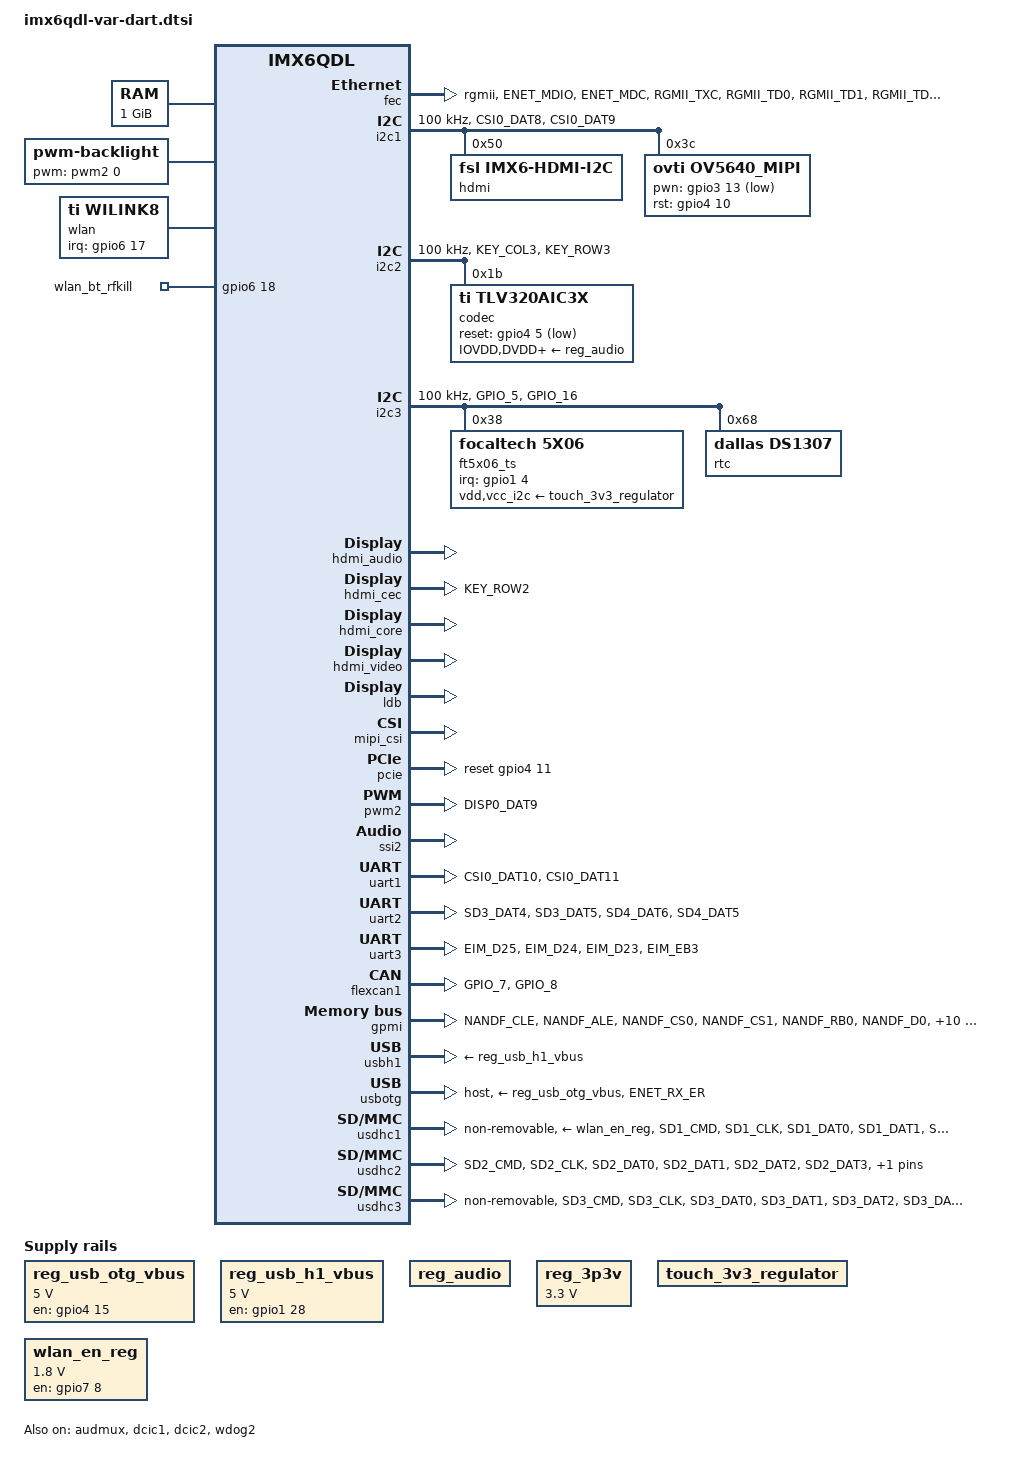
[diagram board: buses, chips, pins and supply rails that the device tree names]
/*
 * Copyright (C) 2014 Variscite, Ltd. All Rights Reserved
 * Donio Ron: ron.d@variscite.com
 *
 * Copyright 2012 Freescale Semiconductor, Inc.
 * Copyright 2011 Linaro Ltd.
 *
 * The code contained herein is licensed under the GNU General Public
 * License. You may obtain a copy of the GNU General Public License
 * Version 2 or later at the following locations:
 *
 * http://www.opensource.org/licenses/gpl-license.html
 * http://www.gnu.org/copyleft/gpl.html
 *
 */

#include <dt-bindings/input/input.h>

/ {
	aliases {
		mxcfb0 = &mxcfb1;
		mxcfb1 = &mxcfb2;
		mxcfb2 = &mxcfb3;
		mxcfb3 = &mxcfb4;
	};

	memory {
		reg = <0x10000000 0x40000000>;
	};

	regulators {
		compatible = "simple-bus";
		#address-cells = <1>;
		#size-cells = <0>;

		reg_usb_otg_vbus: regulator@0 {
			compatible = "regulator-fixed";
			reg = <0>;
			regulator-name = "usb_otg_vbus";
			regulator-min-microvolt = <5000000>;
			regulator-max-microvolt = <5000000>;
			gpio = <&gpio4 15 0>;
			enable-active-high;
		};

		reg_usb_h1_vbus: regulator@1 {
			compatible = "regulator-fixed";
			reg = <1>;
			regulator-name = "usb_h1_vbus";
			regulator-min-microvolt = <5000000>;
			regulator-max-microvolt = <5000000>;
			gpio = <&gpio1 28 0>;
			enable-active-high;
		};

		reg_audio: regulator@2 {
			compatible = "regulator-fixed";
			reg = <2>;
			regulator-name = "tlv320aic3x-supply";
			enable-active-high;
		};

		reg_3p3v: regulator@3 {
			compatible = "regulator-fixed";
			regulator-name = "3P3V";
			regulator-min-microvolt = <3300000>;
			regulator-max-microvolt = <3300000>;
			regulator-always-on;
		};

		touch_3v3_regulator: touch_3v3_regulator {
			compatible = "regulator-fixed";
			regulator-name = "touch_3v3_supply";
			regulator-always-on;
			status = "okay";
		};

	};

	wlcore {
		compatible = "wlcore";
		gpio = <177>;   /* The wl8 driver expects gpio to be an integer, so gpio6_17 is (6-1)*32+17=207
		        	   irq property must not be set as driver derives irq number from gpio if no irq set
	 			   use edge irqs for suspend/resume */
		platform-quirks = <1>;
		/* if a 12xx card is there, configure the clock to WL12XX_REFCLOCK_38_XTAL */
		board-ref-clock = <4>;
	};

	wlan_en_reg: fixedregulator@2 {
		compatible = "regulator-fixed";
		regulator-name = "wlan-en-regulator";
		regulator-min-microvolt = <1800000>;
		regulator-max-microvolt = <1800000>;

		/* WLAN_EN GPIO for this board - Bank5, pin13 */
		gpio = <&gpio7 8 0>;

		/* WLAN card specific delay */
		startup-delay-us = <70000>;
		enable-active-high;
	};


#if 0
	/* Keys may interfere with touch */
	gpio-keys {
		compatible = "gpio-keys";

		enter {
			label = "Enter";
			gpios = <&gpio5 11 1>;
			linux,code = <28>; /* KEY_HOME */
			gpio-key,wakeup;
		};

		left {
			label = "Left";
			gpios = <&gpio4 26 1>;
			linux,code = <105>; /* KEY_BACK */
			gpio-key,wakeup;
		};

		right {
			label = "Right";
			gpios = <&gpio4 25 1>;
			linux,code = <106 >; /* KEY_BACK */
			gpio-key,wakeup;
		};


	};
#endif

	sound {
		compatible = "fsl,imx6q-var-som-tlv320aic3x", "fsl,imx-audio-tlv320aic3x";
		model = "tlv320aic3x-audio";
		cpu-dai = <&ssi2>;
		audio-codec = <&codec>;
		audio-routing =
			/* Headphone connected to HPLOUT, HPROUT */
			"Headphone Jack",       "HPLOUT",
			"Headphone Jack",       "HPROUT",
			"Line In Jack",		"LINE1L",
			"Line In Jack",		"LINE1R";
		mux-int-port = <2>;
		mux-ext-port = <3>;
	};
	sound-hdmi {
		compatible = "fsl,imx6q-audio-hdmi",
			     "fsl,imx-audio-hdmi";
		model = "imx-audio-hdmi";
		hdmi-controller = <&hdmi_audio>;
	};

	/* Capacitive Display */
	mxcfb1: fb@0 {
		compatible = "fsl,mxc_sdc_fb";
		disp_dev = "ldb";
		interface_pix_fmt = "RGB666";
		default_bpp = <16>;
		int_clk = <0>;
		late_init = <0>;
		status = "disabled";
	};

	mxcfb2: fb@1 {
		compatible = "fsl,mxc_sdc_fb";
		disp_dev = "hdmi";
		interface_pix_fmt = "RGB24";
		mode_str ="1920x1080M@60";
		default_bpp = <24>;
		int_clk = <0>;
		late_init = <0>;
		status = "disabled";
	};

	mxcfb3: fb@2 {
		compatible = "fsl,mxc_sdc_fb";
		disp_dev = "lcd";
		interface_pix_fmt = "RGB565";
		mode_str ="CLAA-WVGA";
		default_bpp = <16>;
		int_clk = <0>;
		late_init = <0>;
		status = "disabled";
	};

	mxcfb4: fb@3 {
		compatible = "fsl,mxc_sdc_fb";
		disp_dev = "ldb";
		interface_pix_fmt = "RGB666";
		default_bpp = <16>;
		int_clk = <0>;
		late_init = <0>;
		status = "disabled";
	};

#if 0
	lcd@0 {
		compatible = "fsl,lcd";
		ipu_id = <0>;
		disp_id = <0>;
		default_ifmt = "RGB565";
		pinctrl-names = "default";
		pinctrl-0 = <&pinctrl_ipu1>;
		status = "okay";
	};
#endif
	backlight {
		compatible = "pwm-backlight";
		pwms = <&pwm2 0 50000>;
		brightness-levels = <0 4 8 16 32 64 128 248>;
		default-brightness-level = <7>;
		status = "okay";
	};

	v4l2_cap_0 {
		compatible = "fsl,imx6q-v4l2-capture";
		ipu_id = <0>;
		csi_id = <1>;
		mclk_source = <0>;
		status = "okay";
	};



	v4l2_out {
		compatible = "fsl,mxc_v4l2_output";
		status = "okay";
	};

	wlan {
		compatible = "ti,wilink8";
		interrupt-parent = <&gpio6>;
		interrupts = <17 0>;
		clocks = <&refclock>;
		clock-names = "refclock";

		refclock: refclock {
			compatible = "ti,wilink-clock";
			#clock-cells = <0>;
			clock-frequency = <38400000>;
		};
	};

	wlan_bt_rfkill {
		compatible = "net,rfkill-gpio";
		name = "wlan_bt_rfkill";
		type = <2>;     /* bluetooth */
		gpios = <&gpio6 18 0>;
	};
};

&audmux {
	pinctrl-names = "default";
	pinctrl-0 = <&pinctrl_audmux_2>;
	status = "okay";
};

&cpu0 {
	arm-supply = <&sw1a_reg>;
	soc-supply = <&sw1c_reg>;
};


&fec {
	pinctrl-names = "default";
	pinctrl-0 = <&pinctrl_enet_4>;
	phy-mode = "rgmii";
	phy-reset-gpios = <&gpio1 25 0>;
	fsl,magic-packet;
	status = "okay";
};

&i2c1 {
	clock-frequency = <100000>;
	pinctrl-names = "default";
	pinctrl-0 = <&pinctrl_i2c1_2>;
	status = "okay";

	hdmi: edid@50 {
		compatible = "fsl,imx6-hdmi-i2c";
		reg = <0x50>;
	};
	
	ov5640_mipi: ov5640_mipi@3c {
		compatible = "ovti,ov5640_mipi";
		reg = <0x3c>;
		clocks = <&clks 200>;
		clock-names = "csi_mclk";
		pwn-gpios = <&gpio3 13 1>;
		rst-gpios = <&gpio4 10 0>;
		csi_id = <1>;
		mclk = <24000000>;
		mclk_source = <0>;
	};
};

&i2c2 {
	clock-frequency = <100000>;
	pinctrl-names = "default";
	pinctrl-0 = <&pinctrl_i2c2_2>;
	status = "okay";



	codec: tlv320aic3x@1b {
		compatible = "ti,tlv320aic3x";
		reg = <0x1b>;
		clocks = <&clks 201>;
		clock-names = "clko_clk";
		IOVDD-supply = <&reg_audio>;
		DVDD-supply = <&reg_audio>;
		AVDD-supply = <&reg_audio>;
		DRVDD-supply = <&reg_audio>;
		gpio-reset = <&gpio4 5 1>;
		gpio-cfg = <
			0x0000 /* 0:Default */
			0x0000 /* 1:Default */
			0x0013 /* 2:FN_DMICCLK */
			0x0000 /* 3:Default */
			0x8014 /* 4:FN_DMICCDAT */
			0x0000 /* 5:Default */
		>;
       	};
};

&i2c3 {
	clock-frequency = <100000>;
	pinctrl-names = "default";
	pinctrl-0 = <&pinctrl_i2c3_3>;
	status = "okay";


	ft5x06_ts@38 {
			compatible = "focaltech,5x06";
			reg = <0x38>;
			focaltech,family-id = <0x54>;
			interrupt-parent = <&gpio1>;
			interrupts = <4 0>;
			vdd-supply = <&touch_3v3_regulator>;
			vcc_i2c-supply = <&touch_3v3_regulator>;
			focaltech,irq-gpio = <&gpio1 4 0x00>;
			focaltech,display-coords = <0 0 800 480>;
			focaltech,name = "ft6x06";
			focaltech,no-force-update;
			focaltech,group-id = <1>;
			focaltech,hard-reset-delay-ms = <20>;
			focaltech,soft-reset-delay-ms = <150>;
			focaltech,num-max-touches = <2>;
			focaltech,fw-name = "ft_8610_qrd_fw.bin";
			focaltech,fw-delay-aa-ms = <100>;
			focaltech,fw-delay-55-ms = <30>;
			focaltech,fw-upgrade-id1 = <0x79>;
			focaltech,fw-upgrade-id2 = <0x08>;
			focaltech,fw-delay-readid-ms = <10>;
			focaltech,fw-delay-era-flsh-ms = <2000>;
			focaltech,fw-auto-cal;
			focaltech,mirror_h;
			focaltech,mirror_v;
		};

        /* DS1307 RTC module */
        rtc@0x68 {
                 compatible = "dallas,ds1307";
                 reg = <0x68>;
        };
};

&iomuxc {
	pinctrl-names = "default";
	pinctrl-0 = <&pinctrl_hog>;

	imx6qdl-var-som-mx6 {

		pinctrl_hog: hoggrp {
			fsl,pins = <
				/* PMIC INT */
				MX6QDL_PAD_GPIO_17__GPIO7_IO12			0x80000000
				/* Wifi Slow Clock */
				MX6QDL_PAD_ENET_RXD0__OSC32K_32K_OUT		0x000b0			/* WIFI Slow clock */
				/* Audio Clock */
				MX6QDL_PAD_GPIO_0__CCM_CLKO1 			0x130b0			/* Audio Codec Clock */
				/* Camera Clock */
				MX6QDL_PAD_GPIO_3__CCM_CLKO2			0x130b0			/* Camera MCLK */
                               MX6QDL_PAD_KEY_ROW0__GPIO4_IO07                 0xb0b1
                               MX6QDL_PAD_KEY_COL1__GPIO4_IO08                 0xb0b1

			>;
		};

		pinctrl_audmux_2: audmux {
			fsl,pins = <
				MX6QDL_PAD_CSI0_DAT7__AUD3_RXD  	0x130b0
				MX6QDL_PAD_CSI0_DAT4__AUD3_TXC  	0x130b0
				MX6QDL_PAD_CSI0_DAT5__AUD3_TXD  	0x110b0
				MX6QDL_PAD_CSI0_DAT6__AUD3_TXFS 	0x130b0
			>;
		};

		pinctrl_enet_4: enetgrp {
			fsl,pins = <
				MX6QDL_PAD_ENET_MDIO__ENET_MDIO       	0x1b0b0
				MX6QDL_PAD_ENET_MDC__ENET_MDC         	0x1b0b0
				MX6QDL_PAD_RGMII_TXC__RGMII_TXC       	0x1b0b0
				MX6QDL_PAD_RGMII_TD0__RGMII_TD0       	0x1b0b0
				MX6QDL_PAD_RGMII_TD1__RGMII_TD1       	0x1b0b0
				MX6QDL_PAD_RGMII_TD2__RGMII_TD2       	0x1b0b0
				MX6QDL_PAD_RGMII_TD3__RGMII_TD3       	0x1b0b0
				MX6QDL_PAD_RGMII_TX_CTL__RGMII_TX_CTL 	0x1b0b0
				MX6QDL_PAD_ENET_REF_CLK__ENET_TX_CLK  	0x1b0b0
				MX6QDL_PAD_RGMII_RXC__RGMII_RXC       	0x1b0b0
				MX6QDL_PAD_RGMII_RD0__RGMII_RD0       	0x1b0b0
				MX6QDL_PAD_RGMII_RD1__RGMII_RD1       	0x1b0b0
				MX6QDL_PAD_RGMII_RD2__RGMII_RD2       	0x1b0b0
				MX6QDL_PAD_RGMII_RD3__RGMII_RD3       	0x1b0b0
				MX6QDL_PAD_RGMII_RX_CTL__RGMII_RX_CTL 	0x1b0b0
			>;
		};

		pinctrl_enet_irq: enetirqgrp {
			fsl,pins = <
				MX6QDL_PAD_GPIO_6__ENET_IRQ		0x000b1
			>;
		};

		pinctrl_gpio_keys: gpio_keysgrp {
			fsl,pins = <
//				MX6QDL_PAD_GPIO_5__GPIO1_IO05  0x80000000
			>;
		};

		pinctrl_hdmi_cec: hdmicecgrp {
			fsl,pins = <
				MX6QDL_PAD_KEY_ROW2__HDMI_TX_CEC_LINE 0x1f8b0
			>;
		};

		pinctrl_hdmi_hdcp: hdmihdcpgrp {
			fsl,pins = <
				MX6QDL_PAD_KEY_COL3__HDMI_TX_DDC_SCL 0x4001b8b1
				MX6QDL_PAD_KEY_ROW3__HDMI_TX_DDC_SDA 0x4001b8b1
			>;
		};

		pinctrl_i2c1_2: i2c1grp {
			fsl,pins = <
				MX6QDL_PAD_CSI0_DAT8__I2C1_SDA 		0x4001b8b1
				MX6QDL_PAD_CSI0_DAT9__I2C1_SCL 		0x4001b8b1
			>;
		};

		pinctrl_i2c2_2: i2c2grp {
			fsl,pins = <
				MX6QDL_PAD_KEY_COL3__I2C2_SCL 		0x4001b8b1
				MX6QDL_PAD_KEY_ROW3__I2C2_SDA 		0x4001b8b1
			>;
		};

		pinctrl_i2c3_3: i2c3grp {
			fsl,pins = <
				MX6QDL_PAD_GPIO_5__I2C3_SCL		0x4001b8b1
				MX6QDL_PAD_GPIO_16__I2C3_SDA		0x4001b8b1
			>;
		};

		pinctrl_ipu1: ipu1grp {
			fsl,pins = <
				MX6QDL_PAD_DI0_DISP_CLK__IPU1_DI0_DISP_CLK 0x10
				MX6QDL_PAD_DI0_PIN15__IPU1_DI0_PIN15       0x10
				MX6QDL_PAD_DI0_PIN2__IPU1_DI0_PIN02        0x10
				MX6QDL_PAD_DI0_PIN3__IPU1_DI0_PIN03        0x10
				MX6QDL_PAD_DI0_PIN4__IPU1_DI0_PIN04        0x80000000
				MX6QDL_PAD_DISP0_DAT0__IPU1_DISP0_DATA00   0x10
				MX6QDL_PAD_DISP0_DAT1__IPU1_DISP0_DATA01   0x10
				MX6QDL_PAD_DISP0_DAT2__IPU1_DISP0_DATA02   0x10
				MX6QDL_PAD_DISP0_DAT3__IPU1_DISP0_DATA03   0x10
				MX6QDL_PAD_DISP0_DAT4__IPU1_DISP0_DATA04   0x10
				MX6QDL_PAD_DISP0_DAT5__IPU1_DISP0_DATA05   0x10
				MX6QDL_PAD_DISP0_DAT6__IPU1_DISP0_DATA06   0x10
				MX6QDL_PAD_DISP0_DAT7__IPU1_DISP0_DATA07   0x10
				MX6QDL_PAD_DISP0_DAT8__IPU1_DISP0_DATA08   0x10
				MX6QDL_PAD_DISP0_DAT9__IPU1_DISP0_DATA09   0x10
				MX6QDL_PAD_DISP0_DAT10__IPU1_DISP0_DATA10  0x10
				MX6QDL_PAD_DISP0_DAT11__IPU1_DISP0_DATA11  0x10
				MX6QDL_PAD_DISP0_DAT12__IPU1_DISP0_DATA12  0x10
				MX6QDL_PAD_DISP0_DAT13__IPU1_DISP0_DATA13  0x10
				MX6QDL_PAD_DISP0_DAT14__IPU1_DISP0_DATA14  0x10
				MX6QDL_PAD_DISP0_DAT15__IPU1_DISP0_DATA15  0x10
				MX6QDL_PAD_DISP0_DAT16__IPU1_DISP0_DATA16  0x10
				MX6QDL_PAD_DISP0_DAT17__IPU1_DISP0_DATA17  0x10
				MX6QDL_PAD_DISP0_DAT18__IPU1_DISP0_DATA18  0x10
				MX6QDL_PAD_DISP0_DAT19__IPU1_DISP0_DATA19  0x10
				MX6QDL_PAD_DISP0_DAT20__IPU1_DISP0_DATA20  0x10
				MX6QDL_PAD_DISP0_DAT21__IPU1_DISP0_DATA21  0x10
				MX6QDL_PAD_DISP0_DAT22__IPU1_DISP0_DATA22  0x10
				MX6QDL_PAD_DISP0_DAT23__IPU1_DISP0_DATA23  0x10
			>;
		};

		pinctrl_ipu1_2: ipu1grp-2 { /* parallel camera */
			fsl,pins = <
				MX6QDL_PAD_CSI0_DAT12__IPU1_CSI0_DATA12    0x80000000
				MX6QDL_PAD_CSI0_DAT13__IPU1_CSI0_DATA13    0x80000000
				MX6QDL_PAD_CSI0_DAT14__IPU1_CSI0_DATA14    0x80000000
				MX6QDL_PAD_CSI0_DAT15__IPU1_CSI0_DATA15    0x80000000
				MX6QDL_PAD_CSI0_DAT16__IPU1_CSI0_DATA16    0x80000000
				MX6QDL_PAD_CSI0_DAT17__IPU1_CSI0_DATA17    0x80000000
				MX6QDL_PAD_CSI0_DAT18__IPU1_CSI0_DATA18    0x80000000
				MX6QDL_PAD_CSI0_DAT19__IPU1_CSI0_DATA19    0x80000000
				MX6QDL_PAD_CSI0_DATA_EN__IPU1_CSI0_DATA_EN 0x80000000
				MX6QDL_PAD_CSI0_PIXCLK__IPU1_CSI0_PIXCLK   0x80000000
				MX6QDL_PAD_CSI0_MCLK__IPU1_CSI0_HSYNC      0x80000000
				MX6QDL_PAD_CSI0_VSYNC__IPU1_CSI0_VSYNC     0x80000000
			>;
		};

		pinctrl_pwm1_1: pwm1grp {
			fsl,pins = <
				MX6QDL_PAD_DISP0_DAT9__PWM2_OUT 	0x1b0b1
			>;
		};
		/* Linux Console */
		pinctrl_uart1_1: uart1grp-1 { /* RX/TX only */
			fsl,pins = <
				MX6QDL_PAD_CSI0_DAT10__UART1_TX_DATA	0x1b0b1
				MX6QDL_PAD_CSI0_DAT11__UART1_RX_DATA	0x1b0b1
			>;
		};

		/* Variscite Bluetooth */
		pinctrl_uart2_3: uart2grp-3 { /* RTS/CTS only mode */
			fsl,pins = <
				MX6QDL_PAD_SD3_DAT4__UART2_RX_DATA  	0x1b0b1
				MX6QDL_PAD_SD3_DAT5__UART2_TX_DATA  	0x1b0b1
				MX6QDL_PAD_EIM_D28__UART2_CTS_B	    	0x1b0b1
				MX6QDL_PAD_EIM_D29__UART2_RTS_B	    	0x1b0b1
			>;
		};

                pinctrl_uart2_4: uart2grp-4 { /* RTS/CTS only mode */
                        fsl,pins = <
                                MX6QDL_PAD_SD3_DAT4__UART2_RX_DATA  0x1b0b1
                                MX6QDL_PAD_SD3_DAT5__UART2_TX_DATA  0x1b0b1
                                MX6QDL_PAD_SD4_DAT6__UART2_CTS_B    0x1b0b1
                                MX6QDL_PAD_SD4_DAT5__UART2_RTS_B    0x1b0b1
                        >;
                };

		/* Variscite Uart2 support */
		pinctrl_uart3_2: uart3grp-2 {	/* RX/TX RTS/CTS */
			fsl,pins = <
				MX6QDL_PAD_EIM_D25__UART3_RX_DATA 	0x1b0b1
				MX6QDL_PAD_EIM_D24__UART3_TX_DATA 	0x1b0b1
				MX6QDL_PAD_EIM_D23__UART3_CTS_B   	0x1b0b1
				MX6QDL_PAD_EIM_EB3__UART3_RTS_B   	0x1b0b1
			>;
		};

		pinctrl_usbotg_var: usbotggrp-3 {
			fsl,pins = <
				MX6QDL_PAD_GPIO_4__GPIO1_IO04 		0x17059
			>;
		};

                pinctrl_usbotg_2: usbotggrp-2 {
                        fsl,pins = <
                                MX6QDL_PAD_ENET_RX_ER__USB_OTG_ID 0x17059
                        >;
                };


		pinctrl_usdhc1_1: usdhc1grp {
			fsl,pins = <
				MX6QDL_PAD_SD1_CMD__SD1_CMD    		0x17071
				MX6QDL_PAD_SD1_CLK__SD1_CLK    		0x10071
				MX6QDL_PAD_SD1_DAT0__SD1_DATA0 		0x17071
				MX6QDL_PAD_SD1_DAT1__SD1_DATA1 		0x17071
				MX6QDL_PAD_SD1_DAT2__SD1_DATA2 		0x17071
				MX6QDL_PAD_SD1_DAT3__SD1_DATA3 		0x17071
			>;
		};

                pinctrl_usdhc1_2_100mhz: usdhc1grp-2-100mhz {
                        fsl,pins = <
                                MX6QDL_PAD_SD1_CMD__SD1_CMD     0x170B9
                                MX6QDL_PAD_SD1_CLK__SD1_CLK     0x100B9
                                MX6QDL_PAD_SD1_DAT0__SD1_DATA0  0x170B9
                                MX6QDL_PAD_SD1_DAT1__SD1_DATA1  0x170B9
                                MX6QDL_PAD_SD1_DAT2__SD1_DATA2  0x170B9
                                MX6QDL_PAD_SD1_DAT3__SD1_DATA3  0x170B9
                                MX6QDL_PAD_SD3_DAT7__GPIO6_IO17 0x130B9   // reserve two pins from sd1 for wl8 gpio, this is pulled low at reset for WL_EN
                                MX6QDL_PAD_SD3_RST__GPIO7_IO08  0x130B9   // this is for wl_irq which driver will configure as an input with a pull down
                                MX6QDL_PAD_SD3_DAT6__GPIO6_IO18 0x130B9   // used for BT_EN
                        >;
                };
                pinctrl_usdhc1_2_200mhz: usdhc1grp-2-200mhz {
                        fsl,pins = <
                                MX6QDL_PAD_SD1_CMD__SD1_CMD     0x170F9
                                MX6QDL_PAD_SD1_CLK__SD1_CLK     0x100F9
                                MX6QDL_PAD_SD1_DAT0__SD1_DATA0  0x170F9
                                MX6QDL_PAD_SD1_DAT1__SD1_DATA1  0x170F9
                                MX6QDL_PAD_SD1_DAT2__SD1_DATA2  0x170F9
                                MX6QDL_PAD_SD1_DAT3__SD1_DATA3  0x170F9
                                MX6QDL_PAD_SD3_DAT7__GPIO6_IO17 0x130F9   // reserve two pins from sd1 for wl8 gpio, this is pulled low at reset for WL_EN
                                MX6QDL_PAD_SD3_RST__GPIO7_IO08  0x130F9   // this is for wl_irq which driver will configure as an input with a pull down
                                MX6QDL_PAD_SD3_DAT6__GPIO6_IO18 0x130F9   // used for BT_EN
                        >;
                };
		pinctrl_usdhc2_2: usdhc2grp {
			fsl,pins = <
				MX6QDL_PAD_SD2_CMD__SD2_CMD    		0x17059
				MX6QDL_PAD_SD2_CLK__SD2_CLK    		0x10059
				MX6QDL_PAD_SD2_DAT0__SD2_DATA0 		0x17059
				MX6QDL_PAD_SD2_DAT1__SD2_DATA1 		0x17059
				MX6QDL_PAD_SD2_DAT2__SD2_DATA2 		0x17059
				MX6QDL_PAD_SD2_DAT3__SD2_DATA3 		0x17059
			>;
		};

		pinctrl_usdhc3_2: usdhc3grp {
			fsl,pins = <
				MX6QDL_PAD_SD3_CMD__SD3_CMD    		0x17059
				MX6QDL_PAD_SD3_CLK__SD3_CLK    		0x10059
				MX6QDL_PAD_SD3_DAT0__SD3_DATA0 		0x17059
				MX6QDL_PAD_SD3_DAT1__SD3_DATA1 		0x17059
				MX6QDL_PAD_SD3_DAT2__SD3_DATA2 		0x17059
				MX6QDL_PAD_SD3_DAT3__SD3_DATA3 		0x17059
                                MX6QDL_PAD_SD3_DAT7__GPIO6_IO17 	0x13059   // reserve two pins from sd1 for wl8 gpio, this is pulled low at reset for WL_EN
                                MX6QDL_PAD_SD3_RST__GPIO7_IO08  	0x13059   // this is for wl_irq which driver will configure as an input with a pull down
                                MX6QDL_PAD_SD3_DAT6__GPIO6_IO18 	0x13059   // used for BT_EN 
			>;
		};
		pinctrl_usdhc3_2_100mhz: usdhc3grp-100mhz {
			fsl,pins = <
				MX6QDL_PAD_SD3_CMD__SD3_CMD     	0x170B9
				MX6QDL_PAD_SD3_CLK__SD3_CLK     	0x100B9
				MX6QDL_PAD_SD3_DAT0__SD3_DATA0  	0x170B9
				MX6QDL_PAD_SD3_DAT1__SD3_DATA1  	0x170B9
				MX6QDL_PAD_SD3_DAT2__SD3_DATA2  	0x170B9
				MX6QDL_PAD_SD3_DAT3__SD3_DATA3  	0x170B9
                                MX6QDL_PAD_SD3_DAT7__GPIO6_IO17 	0x130B9   // reserve two pins from sd1 for wl8 gpio, this is pulled low at reset for WL_EN
                                MX6QDL_PAD_SD3_RST__GPIO7_IO08  	0x130B9   // this is for wl_irq which driver will configure as an input with a pull down
                                MX6QDL_PAD_SD3_DAT6__GPIO6_IO18 	0x130B9   // used for BT_EN 
			>;
		};
		pinctrl_usdhc3_2_200mhz: usdhc3grp-200mhz {
			fsl,pins = <
				MX6QDL_PAD_SD3_CMD__SD3_CMD     	0x170F9
				MX6QDL_PAD_SD3_CLK__SD3_CLK     	0x100F9
				MX6QDL_PAD_SD3_DAT0__SD3_DATA0  	0x170F9
				MX6QDL_PAD_SD3_DAT1__SD3_DATA1  	0x170F9
				MX6QDL_PAD_SD3_DAT2__SD3_DATA2  	0x170F9
				MX6QDL_PAD_SD3_DAT3__SD3_DATA3  	0x170F9
                                MX6QDL_PAD_SD3_DAT7__GPIO6_IO17 	0x130F9   // reserve two pins from sd1 for wl8 gpio, this is pulled low at reset for WL_EN
                                MX6QDL_PAD_SD3_RST__GPIO7_IO08  	0x130F9   // this is for wl_irq which driver will configure as an input with a pull down
                                MX6QDL_PAD_SD3_DAT6__GPIO6_IO18 	0x130F9   // used for BT_EN 
			>;
		};
                pinctrl_usdhc3_3: usdhc3grp-3 {
                        fsl,pins = <
                                MX6QDL_PAD_SD3_CMD__SD3_CMD    0x17059
                                MX6QDL_PAD_SD3_CLK__SD3_CLK    0x10059
                                MX6QDL_PAD_SD3_DAT0__SD3_DATA0 0x17059
                                MX6QDL_PAD_SD3_DAT1__SD3_DATA1 0x17059
                                MX6QDL_PAD_SD3_DAT2__SD3_DATA2 0x17059
                                MX6QDL_PAD_SD3_DAT3__SD3_DATA3 0x17059
                        >;
                };
  

		pinctrl_gpmi_nand_v1: gpmi-nand-1 {
			fsl,pins = <
				MX6QDL_PAD_NANDF_CLE__NAND_CLE		0xb0b1
				MX6QDL_PAD_NANDF_ALE__NAND_ALE		0xb0b1
				MX6QDL_PAD_NANDF_CS0__NAND_CE0_B	0xb0b1
				MX6QDL_PAD_NANDF_CS1__NAND_CE1_B	0xb0b1
				MX6QDL_PAD_NANDF_RB0__NAND_READY_B	0xb0b1
				MX6QDL_PAD_NANDF_D0__NAND_DATA00	0xb0b1
				MX6QDL_PAD_NANDF_D1__NAND_DATA01	0xb0b1
				MX6QDL_PAD_NANDF_D2__NAND_DATA02	0xb0b1
				MX6QDL_PAD_NANDF_D3__NAND_DATA03	0xb0b1
				MX6QDL_PAD_NANDF_D4__NAND_DATA04	0xb0b1
				MX6QDL_PAD_NANDF_D5__NAND_DATA05	0xb0b1
				MX6QDL_PAD_NANDF_D6__NAND_DATA06	0xb0b1
				MX6QDL_PAD_NANDF_D7__NAND_DATA07	0xb0b1
				MX6QDL_PAD_SD4_CMD__NAND_RE_B		0xb0b1
				MX6QDL_PAD_SD4_CLK__NAND_WE_B		0xb0b1
				MX6QDL_PAD_NANDF_WP_B__NAND_WP_B	0xb0b1
			>;
		};

		pinctrl_ecspi3_1: ecspi3grp {
			fsl,pins = <
				MX6QDL_PAD_DISP0_DAT2__ECSPI3_MISO 0x100b1
				MX6QDL_PAD_DISP0_DAT1__ECSPI3_MOSI 0x100b1
				MX6QDL_PAD_DISP0_DAT0__ECSPI3_SCLK 0x100b1
			>;
		};

		pinctrl_flexcan1_3: flexcan1grp {
			fsl,pins = <
				MX6QDL_PAD_GPIO_7__FLEXCAN1_TX   0x80000000
				MX6QDL_PAD_GPIO_8__FLEXCAN1_RX   0x80000000
			>;
		};

	};
};

&dcic1 {
	dcic_id = <0>;
	dcic_mux = "dcic-hdmi";
	status = "okay";
};

&dcic2 {
	dcic_id = <1>;
	dcic_mux = "dcic-lvds1";
	status = "okay";
};

&gpc {
	/* use ldo-bypass, u-boot will check it and configure */
	fsl,ldo-bypass = <1>;
	fsl,wdog-reset = <1>;
};

&hdmi_audio {
	status = "okay";
};

&hdmi_cec {
	pinctrl-names = "default";
	pinctrl-0 = <&pinctrl_hdmi_cec>;
	status = "okay";
};

&hdmi_core {
	ipu_id = <0>;
	disp_id = <0>;
	status = "okay";
};

&hdmi_video {
	fsl,phy_reg_vlev = <0x0294>;
	fsl,phy_reg_cksymtx = <0x800d>;
	status = "okay";
};

&ldb {
	status = "okay";

	lvds-channel@0 {
		fsl,data-mapping = "spwg";
		fsl,data-width = <24>;
		status = "okay";

/* Resistive Display */
		display-timings {
			native-mode = <&timingr0>;
			timingr0: hsd100pxn1 {
				clock-frequency = <30000000>;
				hactive = <800>;
				vactive = <480>;
				hback-porch = <28>;
				hfront-porch = <17>;
				vback-porch = <13>;
				vfront-porch = <20>;
				hsync-len = <20>;
				vsync-len = <13>;
			};
		};
		
/* Capacitive Display */
		display-timings-alternate {
			native-mode = <&timing0c>;
			timing0c: hsd100pxn1 {
				clock-frequency = <32000000>;
				hactive = <800>;
				vactive = <480>;
				hback-porch = <39>;
				hfront-porch = <39>;
				vback-porch = <29>;
				vfront-porch = <13>;
				hsync-len = <47>;
				vsync-len = <2>;
			};
		};
	};

	lvds-channel@1 {
		fsl,data-mapping = "spwg";
		fsl,data-width = <18>;
		crtc = "ipu1-di1";
		primary;
		status = "okay";

		display-timings {
			native-mode = <&timing1>;
			timing1: hsd100pxn1 {
				clock-frequency = <35714000>;
				hactive = <800>;
				vactive = <480>;
				hback-porch = <28>;
				hfront-porch = <17>;
				vback-porch = <13>;
				vfront-porch = <20>;
				hsync-len = <20>;
				vsync-len = <13>;
			};
		};
	};
};

&mipi_csi {
	status = "okay";
	ipu_id = <0>;
	csi_id = <1>;
	v_channel = <0>;
	lanes = <2>;
};



&pcie {
	reset-gpio    = <&gpio4 11 0>;		/* gpio pin number of power good signal */
	wake-up-gpio  = <&gpio4 31 1>;		/* gpio pin number of incoming wakeup signal */
 	disable-gpio  = <&gpio5 5 0>;		/* gpio pin number of outgoing rfkill/endpoint disable signal */
	status = "okay";
};


&pwm2 {
	pinctrl-names = "default";
	pinctrl-0 = <&pinctrl_pwm1_1>;
	status = "okay";
};


&ssi2 {
	fsl,mode = "i2s-slave";
	status = "okay";
};

/* Console Uart */
&uart1 {
	pinctrl-names = "default";
	pinctrl-0 = <&pinctrl_uart1_1>;
	status = "okay";
};


/* Bluetooth Uart */
&uart2 {
	pinctrl-names = "default";
	pinctrl-0 = <&pinctrl_uart2_4>;
	fsl,uart-has-rtscts;
	status = "okay";
};

/* ttymxc2 UART */
&uart3 {
	pinctrl-names = "default";
	pinctrl-0 = <&pinctrl_uart3_2>;
	fsl,uart-has-rtscts;
	status = "okay";
};

&flexcan1 {
	pinctrl-names = "default";
	pinctrl-0 = <&pinctrl_flexcan1_3>;
	status = "okay";
};

&gpmi { /* nand flash 0.5 GB partition table */
	pinctrl-names = "default";
	pinctrl-0 = <&pinctrl_gpmi_nand_v1>;
	status = "okay";

	partition@0 {
		label = "spl";
		reg = <0x00000000 0x00200000>;
	};

	partition@1 {
		label = "bootloader";
		reg = <0x00200000 0x00200000>;
	};


	partition@2 {
		label = "kernel";
		reg = <0x00400000 0x00600000>;
	};

	partition@3 {
		label = "rootfs";
		reg = <0x00a00000 0x3f600000>;
	};
/* Overlaped partition used to flash Android */
	partition@4 {
		label = "android_boot";
		reg = <0x00400000 0x01000000>;
	};
	partition@5 {
		label = "android_recovery";
		reg = <0x01400000 0x01c00000>;
	};
	partition@6 {
		label = "android_rootfs";
		reg = <0x03000000 0x3d000000>;
	};
};

&usbh1 {
	vbus-supply = <&reg_usb_h1_vbus>;
	status = "okay";
};

&usbotg {
	vbus-supply = <&reg_usb_otg_vbus>;
	pinctrl-names = "default";
	pinctrl-0 = <&pinctrl_usbotg_2>;
	disable-over-current;
	/* dr_mode: One of "host", "peripheral" or "otg". Defaults to "otg" */
	dr_mode = "host" ;	/* Use "host" if you would like to use the USB0 type A connector (host mode only on VAR-SOM-SOLO) */
	status = "okay";
};

&usdhc1 {	/* uSDHC1, TiWi wl1271 7 Wilink8 WL18xx*/
	pinctrl-names = "default", "state_100mhz", "state_200mhz";
	pinctrl-0 = <&pinctrl_usdhc1_1>;
	pinctrl-1 = <&pinctrl_usdhc1_2_100mhz>;
	pinctrl-2 = <&pinctrl_usdhc1_2_200mhz>;
//	pinctrl-names = "default";
//	pinctrl-0 = <&pinctrl_usdhc1_1>;
	keep-power-in-suspend;
	enable-sdio-wakeup;
	vmmc-supply = <&wlan_en_reg>;        
	non-removable;
	cap-power-off-card;
	status = "okay";
};

&usdhc2 {	/* uSDHC2, MMC/SD card */
	pinctrl-names = "default";
	pinctrl-0 = <&pinctrl_usdhc2_2>;
	cd-gpios = <&gpio1 6 0>;
	no-1-8-v;
	keep-power-in-suspend;
	enable-sdio-wakeup;
	status = "okay";
};


&usdhc3 {	/* uSDHC3, eMMC */
	pinctrl-names = "default";
	pinctrl-0 = <&pinctrl_usdhc3_3>;
	non-removable;
	keep-power-in-suspend;
	enable-sdio-wakeup;
	status = "okay";
};


&wdog1 {
	status = "disabled";
};

&wdog2 {
	status = "okay";
};
